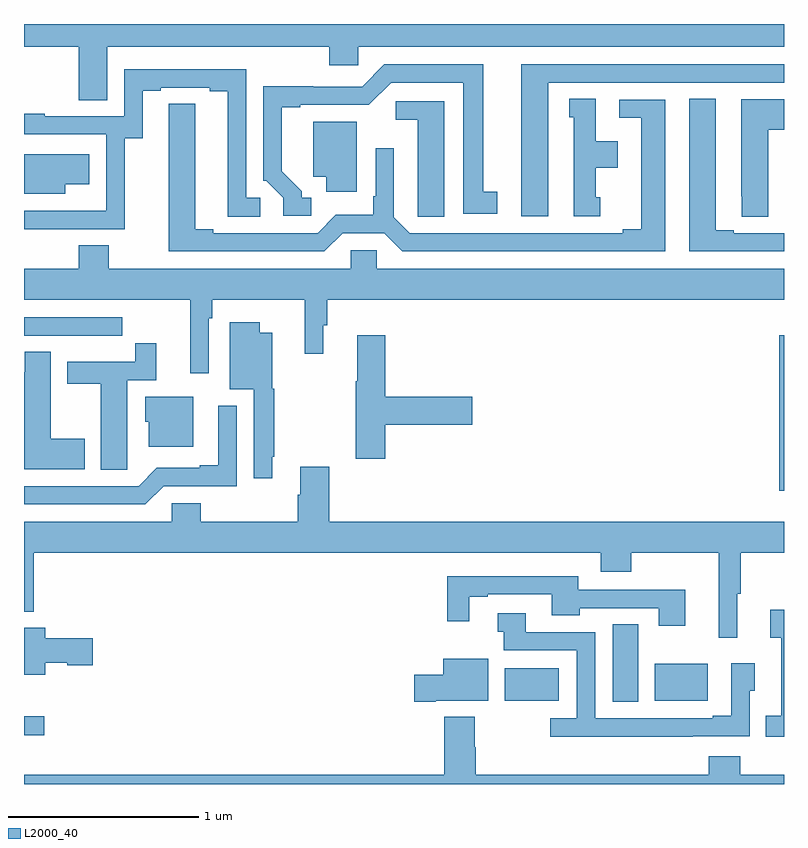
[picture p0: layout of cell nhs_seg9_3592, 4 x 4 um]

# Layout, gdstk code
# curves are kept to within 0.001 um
import gdstk
lib = gdstk.Library(unit=1e-6, precision=1e-09)
def R(c, l, rs):  # rectangles x0, y0, x1, y1
    for r in rs: c.add(gdstk.rectangle(r[:2], r[2:], *l))
def P(c, l, *ps):  # polygons
    for p in ps: c.add(gdstk.Polygon(p, *l))
L2000_40 = (2000, 40)

nhs_seg9_3592 = lib.new_cell('nhs_seg9_3592')
R(nhs_seg9_3592, L2000_40, [(315,1232.757,315.106,1232.856), (318.098,1232.932,318.232,1233.341), (317.531,1232.939,317.815,1233.109), (318.32,1232.939,318.598,1233.133), (318.974,1234.044,319,1234.861)])
P(nhs_seg9_3592, L2000_40, [(315.439,1236.38),(316.607,1236.38),(316.607,1236.282),(316.758,1236.282),(316.758,1236.38),(319,1236.38),(319,1236.5),(315,1236.5),(315,1236.38),(315.287,1236.38),(315.287,1236.1),(315.439,1236.1)],
  [(317.758,1236.192),(319,1236.192),(319,1236.288),(317.618,1236.288),(317.618,1235.487),(317.758,1235.487)],
  [(316.513,1235.586),(316.462,1235.586),(316.462,1235.621),(316.357,1235.726),(316.357,1236.063),(316.453,1236.063),(316.453,1236.075),(316.815,1236.075),(316.932,1236.192),(317.312,1236.192),(317.312,1235.502),(317.491,1235.502),(317.491,1235.618),(317.416,1235.618),(317.416,1236.288),(316.896,1236.288),(316.779,1236.171),(316.523,1236.171),(316.523,1236.173),(316.26,1236.173),(316.26,1235.676),(316.275,1235.676),(316.365,1235.586),(316.365,1235.49),(316.513,1235.49)],
  [(315.531,1235.899),(315.625,1235.899),(315.625,1236.15),(315.721,1236.15),(315.721,1236.165),(315.977,1236.165),(315.977,1236.145),(316.073,1236.145),(316.073,1235.485),(316.243,1235.485),(316.243,1235.586),(316.17,1235.586),(316.17,1236.261),(315.528,1236.261),(315.528,1236.015),(315.109,1236.015),(315.109,1236.028),(315,1236.028),(315,1235.919),(315.432,1235.919),(315.432,1235.518),(315.431,1235.518),(315.431,1235.517),(315,1235.517),(315,1235.421),(315.531,1235.421)],
  [(318.034,1235.589),(318.01,1235.589),(318.01,1235.744),(318.124,1235.744),(318.124,1235.884),(318.01,1235.884),(318.01,1236.107),(317.87,1236.107),(317.87,1236.009),(317.894,1236.009),(317.894,1235.487),(318.034,1235.487)],
  [(319,1235.4),(318.736,1235.4),(318.736,1235.415),(318.64,1235.415),(318.64,1236.107),(318.5,1236.107),(318.5,1235.304),(319,1235.304)],
  [(318.916,1235.944),(319,1235.944),(319,1236.103),(318.776,1236.103),(318.776,1235.593),(318.777,1235.593),(318.777,1235.485),(318.916,1235.485)],
  [(316.677,1235.4),(316.895,1235.4),(316.991,1235.304),(318.376,1235.304),(318.376,1236.102),(318.132,1236.102),(318.132,1236.006),(318.248,1236.006),(318.248,1235.42),(318.152,1235.42),(318.152,1235.4),(317.031,1235.4),(316.947,1235.484),(316.947,1235.845),(316.851,1235.845),(316.851,1235.593),(316.839,1235.593),(316.839,1235.496),(316.641,1235.496),(316.545,1235.4),(315.997,1235.4),(315.997,1235.42),(315.901,1235.42),(315.901,1236.08),(315.762,1236.08),(315.761,1235.304),(316.581,1235.304)],
  [(317.212,1236.093),(316.956,1236.093),(316.956,1235.996),(317.072,1235.996),(317.072,1235.593),(317.073,1235.593),(317.073,1235.485),(317.212,1235.485)],
  [(316.75,1235.986),(316.523,1235.986),(316.523,1235.696),(316.592,1235.696),(316.592,1235.616),(316.75,1235.616)],
  [(315.217,1235.657),(315.343,1235.657),(315.343,1235.815),(315,1235.815),(315,1235.606),(315.217,1235.606)],
  [(315.972,1234.952),(315.992,1234.952),(315.992,1235.048),(316.477,1235.048),(316.477,1234.764),(316.576,1234.764),(316.576,1234.914),(316.595,1234.914),(316.595,1235.048),(319,1235.048),(319,1235.212),(316.857,1235.212),(316.857,1235.31),(316.719,1235.31),(316.719,1235.212),(315.447,1235.212),(315.447,1235.336),(315.287,1235.336),(315.287,1235.212),(315,1235.212),(315,1235.048),(315.875,1235.048),(315.875,1234.662),(315.972,1234.662)],
  [(315.404,1234.86),(315.517,1234.86),(315.517,1234.956),(315,1234.956),(315,1234.86),(315.238,1234.86),(315.238,1234.859),(315.404,1234.859)],
  [(316.306,1234.222),(316.318,1234.222),(316.318,1234.581),(316.306,1234.581),(316.306,1234.876),(316.24,1234.876),(316.24,1234.93),(316.082,1234.93),(316.082,1234.577),(316.209,1234.577),(316.209,1234.11),(316.306,1234.11)],
  [(316.901,1234.391),(317.359,1234.391),(317.359,1234.538),(316.901,1234.538),(316.901,1234.861),(316.754,1234.861),(316.754,1234.621),(316.747,1234.621),(316.747,1234.212),(316.901,1234.212)],
  [(315.543,1234.264),(315.544,1234.264),(315.544,1234.626),(315.695,1234.626),(315.695,1234.819),(315.586,1234.819),(315.586,1234.722),(315.227,1234.722),(315.227,1234.606),(315.404,1234.606),(315.404,1234.153),(315.543,1234.153)],
  [(315.319,1234.317),(315.142,1234.317),(315.142,1234.775),(315.003,1234.775),(315.003,1234.667),(315.002,1234.667),(315.002,1234.157),(315.319,1234.157)],
  [(315.892,1234.537),(315.638,1234.537),(315.638,1234.407),(315.656,1234.407),(315.656,1234.274),(315.892,1234.274)],
  [(315.735,1234.068),(316.119,1234.068),(316.119,1234.492),(316.022,1234.492),(316.022,1234.177),(315.926,1234.177),(315.926,1234.164),(315.699,1234.164),(315.603,1234.068),(315,1234.068),(315,1233.972),(315.639,1233.972)],
  [(318.035,1233.617),(318.195,1233.617),(318.195,1233.716),(318.656,1233.716),(318.656,1233.27),(318.754,1233.27),(318.754,1233.501),(318.773,1233.501),(318.773,1233.716),(319,1233.716),(319,1233.88),(316.607,1233.88),(316.607,1234.171),(316.454,1234.171),(316.454,1234.022),(316.442,1234.022),(316.442,1233.88),(315.929,1233.88),(315.929,1233.978),(315.777,1233.978),(315.777,1233.88),(315,1233.88),(315,1233.407),(315.05,1233.407),(315.05,1233.716),(318.035,1233.716)],
  [(318.481,1233.522),(317.917,1233.522),(317.917,1233.594),(317.227,1233.594),(317.227,1233.357),(317.344,1233.357),(317.344,1233.486),(317.44,1233.486),(317.44,1233.498),(317.777,1233.498),(317.777,1233.389),(317.925,1233.389),(317.925,1233.426),(318.341,1233.426),(318.341,1233.333),(318.481,1233.333)],
  [(319,1233.418),(318.927,1233.418),(318.927,1233.271),(318.986,1233.271),(318.986,1232.86),(318.904,1232.86),(318.904,1232.75),(319,1232.75)],
  [(318.521,1232.751),(318.819,1232.751),(318.819,1232.991),(318.847,1232.991),(318.847,1233.136),(318.723,1233.136),(318.723,1232.86),(318.626,1232.86),(318.626,1232.847),(318.006,1232.847),(318.006,1233.3),(317.641,1233.3),(317.641,1233.399),(317.493,1233.399),(317.493,1233.302),(317.524,1233.302),(317.524,1233.204),(317.91,1233.204),(317.91,1232.847),(317.769,1232.847),(317.769,1232.75),(318.521,1232.75)],
  [(315.112,1233.137),(315.228,1233.137),(315.228,1233.125),(315.361,1233.125),(315.361,1233.267),(315.112,1233.267),(315.112,1233.322),(315,1233.322),(315,1233.074),(315.112,1233.074)],
  [(317.167,1232.939),(317.443,1232.939),(317.443,1233.16),(317.207,1233.16),(317.207,1233.074),(317.055,1233.074),(317.055,1232.932),(317.167,1232.932)],
  [(317.378,1232.693),(317.373,1232.693),(317.373,1232.854),(317.213,1232.854),(317.213,1232.548),(315,1232.548),(315,1232.5),(319,1232.5),(319,1232.548),(318.77,1232.548),(318.77,1232.647),(318.605,1232.647),(318.605,1232.548),(317.378,1232.548)])

lib.write_gds('nhs_seg9_3592.gds')
